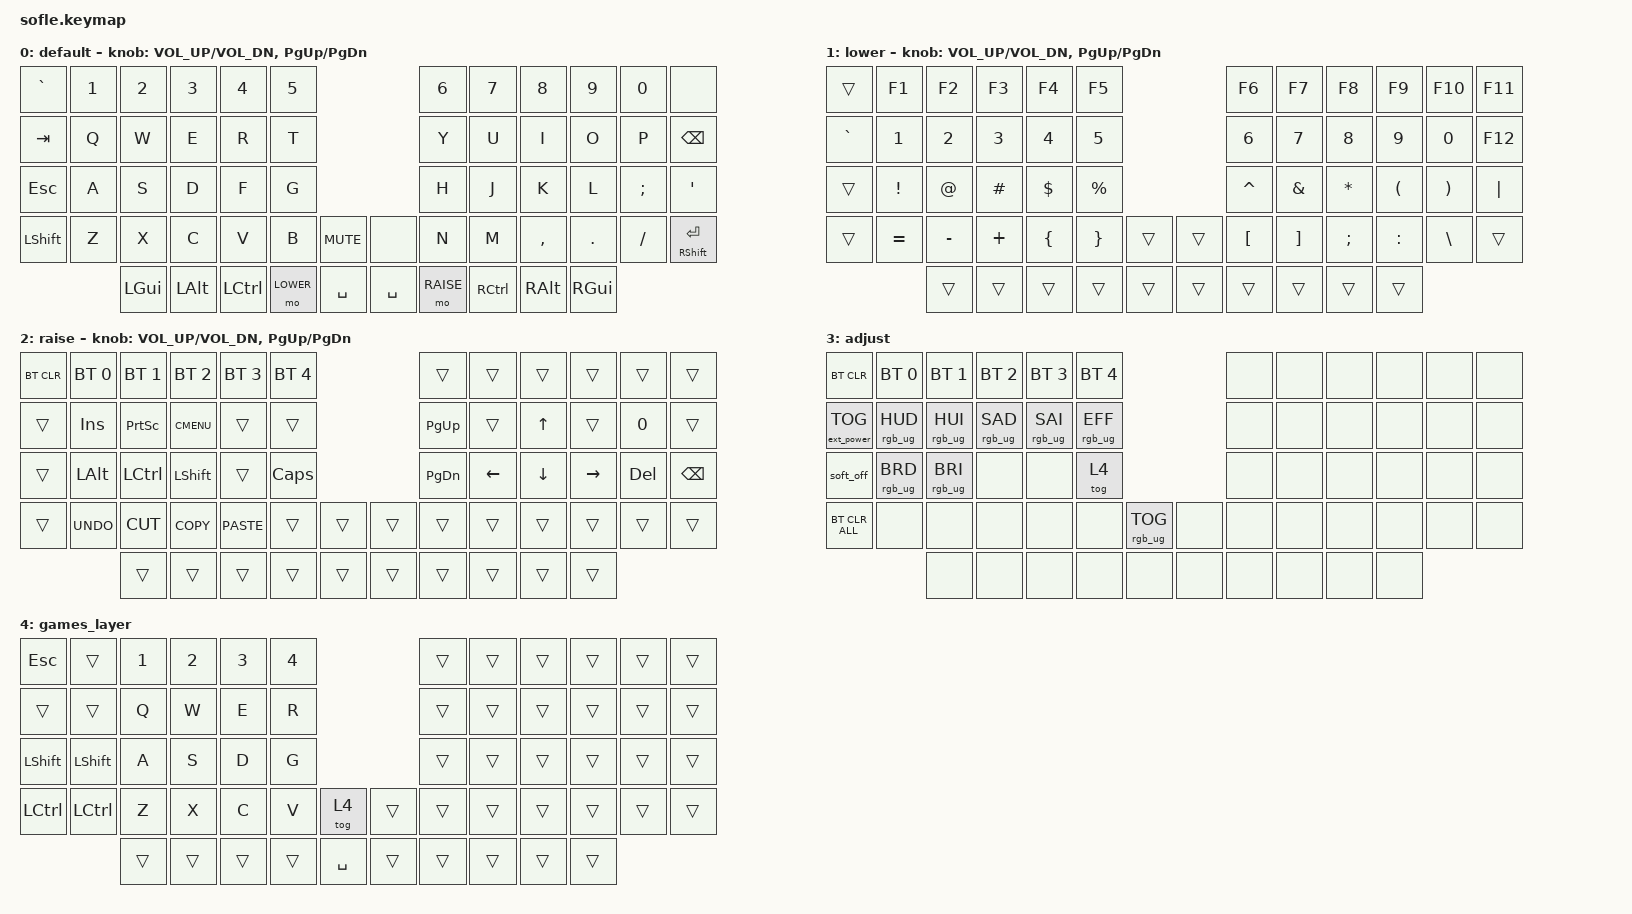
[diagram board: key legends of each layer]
/*
 * Copyright (c) 2020 The ZMK Contributors
 *
 * SPDX-License-Identifier: MIT
 */

#include <behaviors.dtsi>
#include <dt-bindings/zmk/bt.h>
#include <dt-bindings/zmk/ext_power.h>
#include <dt-bindings/zmk/keys.h>
#include <dt-bindings/zmk/rgb.h>

#define BASE 0
#define LOWER 1
#define RAISE 2
#define ADJUST 3

/ {
    // Activate ADJUST layer by pressing raise and lower

    conditional_layers {
        compatible = "zmk,conditional-layers";

        adjust_layer {
            if-layers = <LOWER RAISE>;
            then-layer = <ADJUST>;
        };
    };

    keymap {
        compatible = "zmk,keymap";

        default_layer {
            display-name = "default";

            // ------------------------------------------------------------------------------------------------------------
            // |   `   |  1  |  2  |  3   |  4   |  5   |                   |  6   |  7    |  8    |  9   |   0   |       |
            // |  ESC  |  Q  |  W  |  E   |  R   |  T   |                   |  Y   |  U    |  I    |  O   |   P   | BKSPC |
            // |  TAB  |  A  |  S  |  D   |  F   |  G   |                   |  H   |  J    |  K    |  L   |   ;   |   '   |
            // | SHIFT |  Z  |  X  |  C   |  V   |  B   |  MUTE  |  |       |  N   |  M    |  ,    |  .   |   /   | SHIFT |
            //               | GUI | ALT  | CTRL | LOWER|  ENTER |  | SPACE | RAISE| CTRL  | ALT   | GUI  |

            bindings = <
&kp GRAVE   &kp N1  &kp N2    &kp N3    &kp N4     &kp N5                              &kp N6     &kp N7     &kp N8     &kp N9    &kp N0    &none
&kp TAB     &kp Q   &kp W     &kp E     &kp R      &kp T                               &kp Y      &kp U      &kp I      &kp O     &kp P     &kp BSPC
&kp ESCAPE  &kp A   &kp S     &kp D     &kp F      &kp G                               &kp H      &kp J      &kp K      &kp L     &kp SEMI  &kp SQT
&kp LSHFT   &kp Z   &kp X     &kp C     &kp V      &kp B      &kp C_MUTE    &none      &kp N      &kp M      &kp COMMA  &kp DOT   &kp FSLH  &mt RSHFT ENTER
                    &kp LGUI  &kp LALT  &kp LCTRL  &mo LOWER  &kp SPACE     &kp SPACE  &mo RAISE  &kp RCTRL  &kp RALT   &kp RGUI
            >;

            sensor-bindings = <&inc_dec_kp C_VOL_UP C_VOL_DN &inc_dec_kp PG_UP PG_DN>;
        };

        lower_layer {
            display-name = "lower";

            // TODO: Some binds are waiting for shifted keycode support.
            // ------------------------------------------------------------------------------------------------------------
            // |       |  F1 |  F2 |  F3  |  F4  |  F5  |                   |  F6  |  F7   |  F8   |  F9  |  F10  |  F11  |
            // |   `   |  1  |  2  |  3   |  4   |  5   |                   |  6   |  7    |  8    |  9   |   0   |  F12  |
            // |       |  !  |  @  |  #   |  $   |  %   |                   |  ^   |  &    |  *    |  (   |   )   |   |   |
            // |       |  =  |  -  |  +   |  {   |  }   |        |  |       |  [   |  ]    |  ;    |  :   |   \   |       |
            //               |     |      |      |      |        |  |       |      |       |       |      |

            bindings = <
&trans     &kp F1     &kp F2     &kp F3    &kp F4    &kp F5                       &kp F6     &kp F7    &kp F8     &kp F9     &kp F10   &kp F11
&kp GRAVE  &kp N1     &kp N2     &kp N3    &kp N4    &kp N5                       &kp N6     &kp N7    &kp N8     &kp N9     &kp N0    &kp F12
&trans     &kp EXCL   &kp AT     &kp HASH  &kp DLLR  &kp PRCNT                    &kp CARET  &kp AMPS  &kp ASTRK  &kp LPAR   &kp RPAR  &kp PIPE
&trans     &kp EQUAL  &kp MINUS  &kp PLUS  &kp LBRC  &kp RBRC   &trans    &trans  &kp LBKT   &kp RBKT  &kp SEMI   &kp COLON  &kp BSLH  &trans
                      &trans     &trans    &trans    &trans     &trans    &trans  &trans     &trans    &trans     &trans
            >;

            sensor-bindings = <&inc_dec_kp C_VOL_UP C_VOL_DN &inc_dec_kp PG_UP PG_DN>;
        };

        raise_layer {
            display-name = "raise";

            // ------------------------------------------------------------------------------------------------------------
            // | BTCLR | BT1  | BT2  |  BT3  |  BT4  |  BT5 |                |      |      |       |      |       |       |
            // |       | INS  | PSCR | GUI   |       |      |                | PGUP |      |   ^   |      |       |       |
            // |       | ALT  | CTRL | SHIFT |       | CAPS |                | PGDN |   <- |   v   |  ->  |  DEL  | BKSPC |
            // |       | UNDO | CUT  | COPY  | PASTE |      |      |  |      |      |      |       |      |       |       |
            //                |      |       |       |      |      |  |      |      |      |       |      |

            bindings = <
&bt BT_CLR  &bt BT_SEL 0  &bt BT_SEL 1  &bt BT_SEL 2  &bt BT_SEL 3  &bt BT_SEL 4                    &trans     &trans    &trans    &trans     &trans   &trans
&trans      &kp INS       &kp PSCRN     &kp K_CMENU   &trans        &trans                          &kp PG_UP  &trans    &kp UP    &trans     &kp N0   &trans
&trans      &kp LALT      &kp LCTRL     &kp LSHFT     &trans        &kp CLCK                        &kp PG_DN  &kp LEFT  &kp DOWN  &kp RIGHT  &kp DEL  &kp BSPC
&trans      &kp K_UNDO    &kp K_CUT     &kp K_COPY    &kp K_PASTE   &trans        &trans    &trans  &trans     &trans    &trans    &trans     &trans   &trans
                          &trans        &trans        &trans        &trans        &trans    &trans  &trans     &trans    &trans    &trans
            >;

            sensor-bindings = <&inc_dec_kp C_VOL_UP C_VOL_DN &inc_dec_kp PG_UP PG_DN>;
        };

        adjust_layer {
            // ----------------------------------------------------------------------------------------------------------------------------
            // | BTCLR  |  BT1    |  BT2    |   BT3   |   BT4   |   BT5   |                  |      |      |       |      |       |       |
            // | EXTPWR | RGB_HUD | RGB_HUI | RGB_SAD | RGB_SAI | RGB_EFF |                  |      |      |       |      |       |       |
            // |        | RGB_BRD | RGB_BRI |         |         |         |                  |      |      |       |      |       |       |
            // |        |         |         |         |         |         | RGB_TOG | |      |      |      |       |      |       |       |
            //                    |         |         |         |         |         | |      |      |      |       |      |

            display-name = "adjust";
            bindings = <
&bt BT_CLR         &bt BT_SEL 0     &bt BT_SEL 1     &bt BT_SEL 2     &bt BT_SEL 3     &bt BT_SEL 4                               &none  &none  &none  &none  &none  &none
&ext_power EP_TOG  &rgb_ug RGB_HUD  &rgb_ug RGB_HUI  &rgb_ug RGB_SAD  &rgb_ug RGB_SAI  &rgb_ug RGB_EFF                            &none  &none  &none  &none  &none  &none
&soft_off          &rgb_ug RGB_BRD  &rgb_ug RGB_BRI  &none            &none            &tog 4                                     &none  &none  &none  &none  &none  &none
&bt BT_CLR_ALL     &none            &none            &none            &none            &none            &rgb_ug RGB_TOG    &none  &none  &none  &none  &none  &none  &none
                                    &none            &none            &none            &none            &none              &none  &none  &none  &none  &none
            >;
        };

        games_layer {
            bindings = <
&kp ESCAPE      &trans          &kp NUMBER_1  &kp NUMBER_2  &kp NUMBER_3  &kp NUMBER_4                       &trans  &trans  &trans  &trans  &trans  &trans
&trans          &trans          &kp Q         &kp W         &kp E         &kp R                              &trans  &trans  &trans  &trans  &trans  &trans
&kp LEFT_SHIFT  &kp LEFT_SHIFT  &kp A         &kp S         &kp D         &kp G                              &trans  &trans  &trans  &trans  &trans  &trans
&kp LCTRL       &kp LCTRL       &kp Z         &kp X         &kp C         &kp V         &tog 4       &trans  &trans  &trans  &trans  &trans  &trans  &trans
                                &trans        &trans        &trans        &trans        &kp SPACE    &trans  &trans  &trans  &trans  &trans
            >;
        };
    };
};
